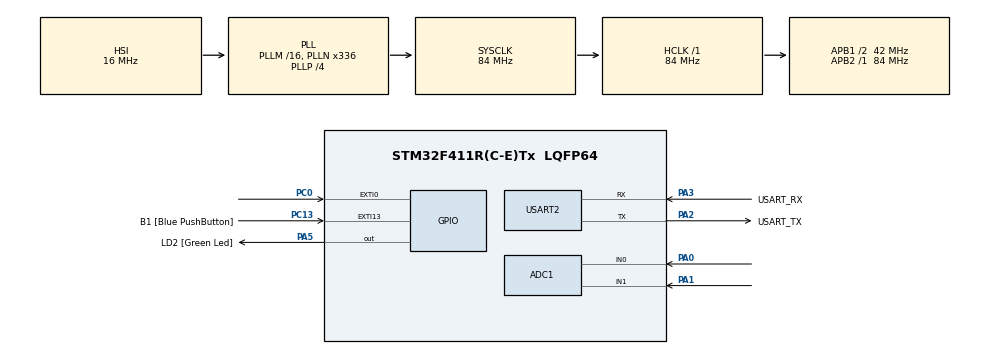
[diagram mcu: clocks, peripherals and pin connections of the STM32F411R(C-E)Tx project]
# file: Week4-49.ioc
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Mcu.Family=STM32F4
RCC.CortexFreq_Value=84000000
VP_ADC1_TempSens_Input.Mode=IN-TempSens
ADC1.ContinuousConvMode=ENABLE
PA14.GPIO_Label=TCK
RCC.SYSCLKSource=RCC_SYSCLKSOURCE_PLLCLK
ProjectManager.StackSize=0x400
PH0\ -\ OSC_IN.Signal=RCC_OSC_IN
ADC1.Channel-3\#ChannelRegularConversion=ADC_CHANNEL_VREFINT
RCC.HCLKFreq_Value=84000000
RCC.APB2TimFreq_Value=84000000
Dma.ADC1.0.Direction=DMA_PERIPH_TO_MEMORY
ADC1.Channel-2\#ChannelRegularConversion=ADC_CHANNEL_TEMPSENSOR
NVIC.DMA2_Stream0_IRQn=true\:0\:0\:false\:false\:true\:false\:true
Dma.ADC1.0.MemDataAlignment=DMA_MDATAALIGN_WORD
RCC.AHBFreq_Value=84000000
NVIC.EXTI15_10_IRQn=true\:0\:0\:false\:false\:true\:true\:true
ADC1.Channel-0\#ChannelRegularConversion=ADC_CHANNEL_0
RCC.HSE_VALUE=8000000
ADC1.ScanConvMode=ENABLE
PC13-ANTI_TAMP.Signal=GPXTI13
VP_ADC1_Vref_Input.Mode=IN-Vrefint
ADC1.Rank-2\#ChannelRegularConversion=3
PC14-OSC32_IN.Mode=LSE-External-Oscillator
PA14.Mode=Serial_Wire
Dma.ADC1.0.PeriphInc=DMA_PINC_DISABLE
SH.ADCx_IN0.0=ADC1_IN0,IN0
ADC1.SamplingTime-0\#ChannelRegularConversion=ADC_SAMPLETIME_480CYCLES
RCC.FLatency-AdvancedSettings=FLASH_LATENCY_2
Mcu.Package=LQFP64
USART2.VirtualMode=VM_ASYNC
PA2.GPIO_Label=USART_TX
SH.ADCx_IN1.0=ADC1_IN1,IN1
RCC.APB1TimFreq_Value=84000000
Dma.ADC1.0.FIFOMode=DMA_FIFOMODE_DISABLE
Dma.Request0=ADC1
PA3.Signal=USART2_RX
PB3.GPIO_Label=SWO
PC15-OSC32_OUT.Mode=LSE-External-Oscillator
Dma.ADC1.0.Instance=DMA2_Stream0
ADC1.Rank-0\#ChannelRegularConversion=1
PC13-ANTI_TAMP.GPIO_PuPd=GPIO_PULLUP
PC13-ANTI_TAMP.GPIO_Label=B1 [Blue PushButton]
PH1\ -\ OSC_OUT.Mode=HSE-External-Clock-Source
PC0.Signal=GPXTI0
RCC.APB1CLKDivider=RCC_HCLK_DIV2
PC14-OSC32_IN.Signal=RCC_OSC32_IN
ADC1.SamplingTime-2\#ChannelRegularConversion=ADC_SAMPLETIME_480CYCLES
PA0-WKUP.Signal=ADCx_IN0
PA13.Signal=SYS_JTMS-SWDIO
PA3.Mode=Asynchronous
Dma.ADC1.0.PeriphDataAlignment=DMA_PDATAALIGN_WORD
PH0\ -\ OSC_IN.Mode=HSE-External-Clock-Source
ProjectManager.TargetToolchain=STM32CubeIDE
Dma.ADC1.0.Mode=DMA_CIRCULAR
Dma.ADC1.0.Priority=DMA_PRIORITY_LOW
ADC1.Channel-1\#ChannelRegularConversion=ADC_CHANNEL_1
PC15-OSC32_OUT.Signal=RCC_OSC32_OUT
PA1.Signal=ADCx_IN1
PA5.Signal=GPIO_Output
PH1\ -\ OSC_OUT.Signal=RCC_OSC_OUT
board=NUCLEO-F411RE
RCC.VCOOutputFreq_Value=336000000
RCC.APB2Freq_Value=84000000
ADC1.DMAContinuousRequests=ENABLE
ADC1.NbrOfConversion=4
PA13.Mode=Serial_Wire
Mcu.Name=STM32F411R(C-E)Tx
PA13.GPIO_Label=TMS
PA2.Signal=USART2_TX
RCC.48MHZClocksFreq_Value=84000000
PB3.Signal=SYS_JTDO-SWO
ADC1.SamplingTime-1\#ChannelRegularConversion=ADC_SAMPLETIME_480CYCLES
RCC.SYSCLKFreq_VALUE=84000000
ADC1.master=1
PA5.GPIO_Label=LD2 [Green Led]
ADC1.Rank-3\#ChannelRegularConversion=4
ADC1.SamplingTime-3\#ChannelRegularConversion=ADC_SAMPLETIME_480CYCLES
ADC1.Rank-1\#ChannelRegularConversion=2
PC13-ANTI_TAMP.GPIO_ModeDefaultEXTI=GPIO_MODE_IT_RISING_FALLING
PA14.Signal=SYS_JTCK-SWCLK
Dma.ADC1.0.MemInc=DMA_MINC_ENABLE
ProjectManager.HeapSize=0x200
RCC.HSI_VALUE=16000000
RCC.PLLP=RCC_PLLP_DIV4
NVIC.PriorityGroup=NVIC_PRIORITYGROUP_0
ADC1.NbrOfConversionFlag=1
RCC.PLLN=336
PA2.Mode=Asynchronous
RCC.APB1Freq_Value=42000000
PA3.GPIO_Label=USART_RX

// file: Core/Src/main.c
/* USER CODE BEGIN Header */
/**
  ******************************************************************************
  * @file           : main.c
  * @brief          : Main program body
  ******************************************************************************
  * @attention
  *
  * <h2><center>&copy; Copyright (c) 2021 STMicroelectronics.
  * All rights reserved.</center></h2>
  *
  * This software component is licensed by ST under BSD 3-Clause license,
  * the "License"; You may not use this file except in compliance with the
  * License. You may obtain a copy of the License at:
  *                        opensource.org/licenses/BSD-3-Clause
  *
  ******************************************************************************
  */
/* USER CODE END Header */
#include "main.h"

ADC_HandleTypeDef hadc1;
DMA_HandleTypeDef hdma_adc1;

UART_HandleTypeDef huart2;

/* USER CODE BEGIN PV */

uint32_t ADCData[4] = {0};
uint32_t RandomTime = 0;
uint32_t TimeStamp = 0;
uint32_t ReleaseTime = 0;
uint32_t count = 0;

/* USER CODE END PV */

void SystemClock_Config(void);
static void MX_GPIO_Init(void);
static void MX_DMA_Init(void);
static void MX_USART2_UART_Init(void);
static void MX_ADC1_Init(void);

int main(void)
{

  /* MCU Configuration--------------------------------------------------------*/

  /* Reset of all peripherals, Initializes the Flash interface and the Systick. */
  HAL_Init();

  /* Configure the system clock */
  SystemClock_Config();

  /* Initialize all configured peripherals */
  MX_GPIO_Init();
  MX_DMA_Init();
  MX_USART2_UART_Init();
  MX_ADC1_Init();
  /* USER CODE BEGIN 2 */
  HAL_ADC_Start_DMA(&hadc1, ADCData, 4);
  /* USER CODE END 2 */

  /* Infinite loop */
  while (1)
  {

    /* USER CODE BEGIN 3 */

	  if(count == 1)
	  {
		  if(HAL_GetTick() - TimeStamp >= RandomTime)
		  {
			  HAL_GPIO_TogglePin(LD2_GPIO_Port, LD2_Pin);							// ไฟติดจากการสุ่มเวลา
			  TimeStamp = HAL_GetTick();
			  count = 2;
		  }
	  }
  }
  /* USER CODE END 3 */
}

void SystemClock_Config(void)
{
  RCC_OscInitTypeDef RCC_OscInitStruct = {0};
  RCC_ClkInitTypeDef RCC_ClkInitStruct = {0};

  /** Configure the main internal regulator output voltage
  */
  __HAL_RCC_PWR_CLK_ENABLE();
  __HAL_PWR_VOLTAGESCALING_CONFIG(PWR_REGULATOR_VOLTAGE_SCALE1);
  /** Initializes the RCC Oscillators according to the specified parameters
  * in the RCC_OscInitTypeDef structure.
  */
  RCC_OscInitStruct.OscillatorType = RCC_OSCILLATORTYPE_HSI;
  RCC_OscInitStruct.HSIState = RCC_HSI_ON;
  RCC_OscInitStruct.HSICalibrationValue = RCC_HSICALIBRATION_DEFAULT;
  RCC_OscInitStruct.PLL.PLLState = RCC_PLL_ON;
  RCC_OscInitStruct.PLL.PLLSource = RCC_PLLSOURCE_HSI;
  RCC_OscInitStruct.PLL.PLLM = 16;
  RCC_OscInitStruct.PLL.PLLN = 336;
  RCC_OscInitStruct.PLL.PLLP = RCC_PLLP_DIV4;
  RCC_OscInitStruct.PLL.PLLQ = 4;
  if (HAL_RCC_OscConfig(&RCC_OscInitStruct) != HAL_OK)
  {
    Error_Handler();
  }
  /** Initializes the CPU, AHB and APB buses clocks
  */
  RCC_ClkInitStruct.ClockType = RCC_CLOCKTYPE_HCLK|RCC_CLOCKTYPE_SYSCLK
                              |RCC_CLOCKTYPE_PCLK1|RCC_CLOCKTYPE_PCLK2;
  RCC_ClkInitStruct.SYSCLKSource = RCC_SYSCLKSOURCE_PLLCLK;
  RCC_ClkInitStruct.AHBCLKDivider = RCC_SYSCLK_DIV1;
  RCC_ClkInitStruct.APB1CLKDivider = RCC_HCLK_DIV2;
  RCC_ClkInitStruct.APB2CLKDivider = RCC_HCLK_DIV1;

  if (HAL_RCC_ClockConfig(&RCC_ClkInitStruct, FLASH_LATENCY_2) != HAL_OK)
  {
    Error_Handler();
  }
}

static void MX_ADC1_Init(void)
{

  ADC_ChannelConfTypeDef sConfig = {0};

  /** Configure the global features of the ADC (Clock, Resolution, Data Alignment and number of conversion)
  */
  hadc1.Instance = ADC1;
  hadc1.Init.ClockPrescaler = ADC_CLOCK_SYNC_PCLK_DIV4;
  hadc1.Init.Resolution = ADC_RESOLUTION_12B;
  hadc1.Init.ScanConvMode = ENABLE;
  hadc1.Init.ContinuousConvMode = ENABLE;
  hadc1.Init.DiscontinuousConvMode = DISABLE;
  hadc1.Init.ExternalTrigConvEdge = ADC_EXTERNALTRIGCONVEDGE_NONE;
  hadc1.Init.ExternalTrigConv = ADC_SOFTWARE_START;
  hadc1.Init.DataAlign = ADC_DATAALIGN_RIGHT;
  hadc1.Init.NbrOfConversion = 4;
  hadc1.Init.DMAContinuousRequests = ENABLE;
  hadc1.Init.EOCSelection = ADC_EOC_SINGLE_CONV;
  if (HAL_ADC_Init(&hadc1) != HAL_OK)
  {
    Error_Handler();
  }
  /** Configure for the selected ADC regular channel its corresponding rank in the sequencer and its sample time.
  */
  sConfig.Channel = ADC_CHANNEL_0;
  sConfig.Rank = 1;
  sConfig.SamplingTime = ADC_SAMPLETIME_480CYCLES;
  if (HAL_ADC_ConfigChannel(&hadc1, &sConfig) != HAL_OK)
  {
    Error_Handler();
  }
  /** Configure for the selected ADC regular channel its corresponding rank in the sequencer and its sample time.
  */
  sConfig.Channel = ADC_CHANNEL_1;
  sConfig.Rank = 2;
  if (HAL_ADC_ConfigChannel(&hadc1, &sConfig) != HAL_OK)
  {
    Error_Handler();
  }
  /** Configure for the selected ADC regular channel its corresponding rank in the sequencer and its sample time.
  */
  sConfig.Channel = ADC_CHANNEL_TEMPSENSOR;
  sConfig.Rank = 3;
  if (HAL_ADC_ConfigChannel(&hadc1, &sConfig) != HAL_OK)
  {
    Error_Handler();
  }
  /** Configure for the selected ADC regular channel its corresponding rank in the sequencer and its sample time.
  */
  sConfig.Channel = ADC_CHANNEL_VREFINT;
  sConfig.Rank = 4;
  if (HAL_ADC_ConfigChannel(&hadc1, &sConfig) != HAL_OK)
  {
    Error_Handler();
  }

}

static void MX_USART2_UART_Init(void)
{

  huart2.Instance = USART2;
  huart2.Init.BaudRate = 115200;
  huart2.Init.WordLength = UART_WORDLENGTH_8B;
  huart2.Init.StopBits = UART_STOPBITS_1;
  huart2.Init.Parity = UART_PARITY_NONE;
  huart2.Init.Mode = UART_MODE_TX_RX;
  huart2.Init.HwFlowCtl = UART_HWCONTROL_NONE;
  huart2.Init.OverSampling = UART_OVERSAMPLING_16;
  if (HAL_UART_Init(&huart2) != HAL_OK)
  {
    Error_Handler();
  }

}

static void MX_DMA_Init(void)
{

  /* DMA controller clock enable */
  __HAL_RCC_DMA2_CLK_ENABLE();

  /* DMA interrupt init */
  /* DMA2_Stream0_IRQn interrupt configuration */
  HAL_NVIC_SetPriority(DMA2_Stream0_IRQn, 0, 0);
  HAL_NVIC_EnableIRQ(DMA2_Stream0_IRQn);

}

static void MX_GPIO_Init(void)
{
  GPIO_InitTypeDef GPIO_InitStruct = {0};

  /* GPIO Ports Clock Enable */
  __HAL_RCC_GPIOC_CLK_ENABLE();
  __HAL_RCC_GPIOH_CLK_ENABLE();
  __HAL_RCC_GPIOA_CLK_ENABLE();
  __HAL_RCC_GPIOB_CLK_ENABLE();

  /*Configure GPIO pin Output Level */
  HAL_GPIO_WritePin(LD2_GPIO_Port, LD2_Pin, GPIO_PIN_SET);								// Set LED-ON at start

  /*Configure GPIO pin : B1_Pin */
  GPIO_InitStruct.Pin = B1_Pin;
  GPIO_InitStruct.Mode = GPIO_MODE_IT_RISING_FALLING;
  GPIO_InitStruct.Pull = GPIO_PULLUP;
  HAL_GPIO_Init(B1_GPIO_Port, &GPIO_InitStruct);

  /*Configure GPIO pin : PC0 */
  GPIO_InitStruct.Pin = GPIO_PIN_0;
  GPIO_InitStruct.Mode = GPIO_MODE_IT_RISING;
  GPIO_InitStruct.Pull = GPIO_NOPULL;
  HAL_GPIO_Init(GPIOC, &GPIO_InitStruct);

  /*Configure GPIO pin : LD2_Pin */
  GPIO_InitStruct.Pin = LD2_Pin;
  GPIO_InitStruct.Mode = GPIO_MODE_OUTPUT_PP;
  GPIO_InitStruct.Pull = GPIO_NOPULL;
  GPIO_InitStruct.Speed = GPIO_SPEED_FREQ_LOW;
  HAL_GPIO_Init(LD2_GPIO_Port, &GPIO_InitStruct);

  /* EXTI interrupt init*/
  HAL_NVIC_SetPriority(EXTI15_10_IRQn, 0, 0);
  HAL_NVIC_EnableIRQ(EXTI15_10_IRQn);

}

/* USER CODE BEGIN 4 */
void HAL_GPIO_EXTI_Callback(uint16_t GPIO_Pin)
{
	if(GPIO_Pin == GPIO_PIN_13)
	{
		if(count == 0)
		{
			RandomTime = (1000 + ((22695477 * ADCData[0]) + ADCData[1]) % 10000);		// สุ่มกำหนดระยะเวลาที่ไฟจะกลับมาติด
			HAL_GPIO_TogglePin(LD2_GPIO_Port, LD2_Pin);									// ไฟดับหลังจากกดปุ่ม
			TimeStamp = HAL_GetTick();
			ReleaseTime = 0;
			count = 1;
		}
		else if(count == 2)
		{
			ReleaseTime = HAL_GetTick() - TimeStamp;									// ระยะเวลาที่ใช้ = เวลาตอนปล่อย - เวลาตอนครบระยะสุ่ม
			count = 0;
		}
		else if(count == 1)																// กรณีปล่อยก่อนไฟติดให้กลับไปนับใหม่+ไฟติดเหมือนเดิม
		{
			HAL_GPIO_TogglePin(LD2_GPIO_Port, LD2_Pin);
			count = 0;
		}

	}
}
/* USER CODE END 4 */

void Error_Handler(void)
{
  __disable_irq();
  while (1)
  {
  }
}

/************************ (C) COPYRIGHT STMicroelectronics *****END OF FILE****/
